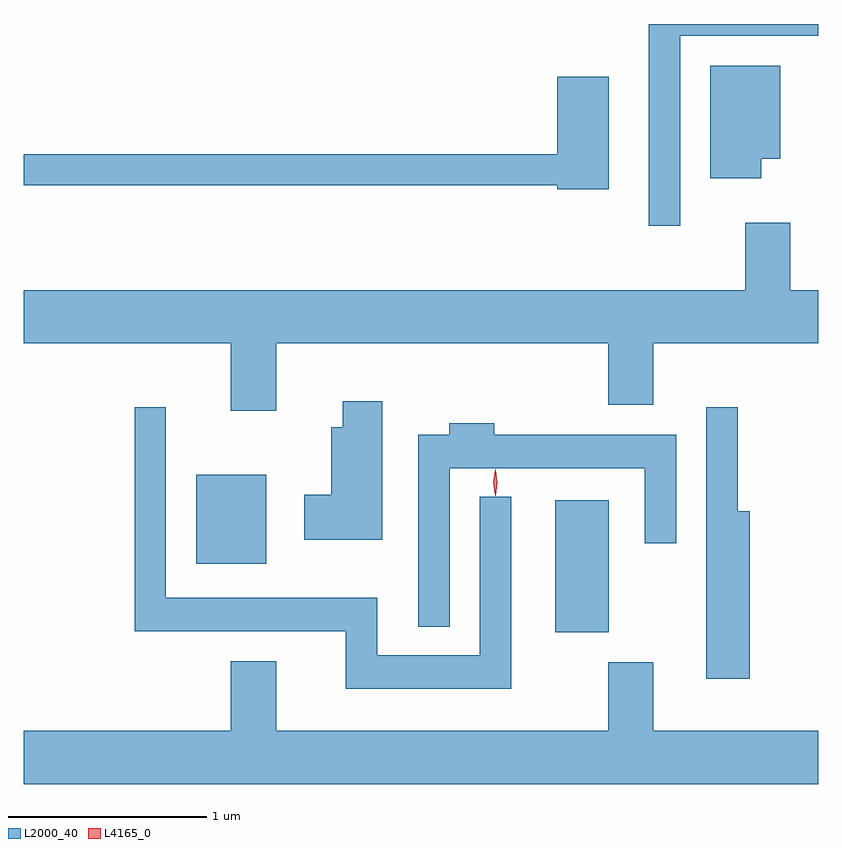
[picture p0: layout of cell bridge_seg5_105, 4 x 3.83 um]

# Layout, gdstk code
import gdstk
lib = gdstk.Library(unit=1e-6, precision=1e-09)
def R(c, l, rs):  # rectangles x0, y0, x1, y1
    for r in rs: c.add(gdstk.rectangle(r[:2], r[2:], *l))
def P(c, l, *ps):  # polygons
    for p in ps: c.add(gdstk.Polygon(p, *l))
L2000_40 = (2000, 40)
L4165_0 = (4165, 0)

bridge_seg5_105 = lib.new_cell('bridge_seg5_105')
R(bridge_seg5_105, L2000_40, [(1198.346,1497.521,1198.614,1498.184), (1196.536,1497.866,1196.889,1498.314)])
P(bridge_seg5_105, L2000_40, [(1198.974,1500.526),(1199.669,1500.526),(1199.669,1500.584),(1198.816,1500.584),(1198.816,1499.568),(1198.974,1499.568)],
  [(1199.384,1499.906),(1199.479,1499.906),(1199.479,1500.374),(1199.126,1500.374),(1199.126,1499.806),(1199.384,1499.806)],
  [(1198.614,1500.319),(1198.356,1500.319),(1198.356,1499.929),(1195.669,1499.929),(1195.669,1499.771),(1198.356,1499.771),(1198.356,1499.751),(1198.614,1499.751)],
  [(1196.939,1498.976),(1198.611,1498.976),(1198.611,1498.666),(1198.839,1498.666),(1198.839,1498.976),(1199.669,1498.976),(1199.669,1499.244),(1199.529,1499.244),(1199.529,1499.584),(1199.301,1499.584),(1199.301,1499.244),(1195.669,1499.244),(1195.669,1498.976),(1196.711,1498.976),(1196.711,1498.636),(1196.939,1498.636)],
  [(1197.474,1498.684),(1197.276,1498.684),(1197.276,1498.554),(1197.216,1498.554),(1197.216,1498.214),(1197.081,1498.214),(1197.081,1497.986),(1197.474,1497.986)],
  [(1199.324,1498.129),(1199.264,1498.129),(1199.264,1498.653),(1199.106,1498.653),(1199.106,1497.286),(1199.324,1497.286)],
  [(1198.124,1498.203),(1197.966,1498.203),(1197.966,1497.404),(1197.449,1497.404),(1197.449,1497.694),(1196.384,1497.694),(1196.384,1498.653),(1196.226,1498.653),(1196.226,1497.526),(1197.291,1497.526),(1197.291,1497.236),(1198.124,1497.236)],
  [(1197.814,1498.346),(1198.796,1498.346),(1198.796,1497.968),(1198.954,1497.968),(1198.954,1498.514),(1198.039,1498.514),(1198.039,1498.574),(1197.811,1498.574),(1197.811,1498.514),(1197.656,1498.514),(1197.656,1497.548),(1197.814,1497.548)],
  [(1199.669,1497.024),(1198.839,1497.024),(1198.839,1497.369),(1198.611,1497.369),(1198.611,1497.024),(1196.939,1497.024),(1196.939,1497.374),(1196.711,1497.374),(1196.711,1497.024),(1195.669,1497.024),(1195.669,1496.756),(1199.669,1496.756)])
P(bridge_seg5_105, L4165_0, [(1198.044,1498.207),(1198.044,1498.207),(1198.034,1498.274),(1198.044,1498.34),(1198.044,1498.341),(1198.045,1498.34),(1198.054,1498.274),(1198.045,1498.207)])

lib.write_gds('bridge_seg5_105.gds')
